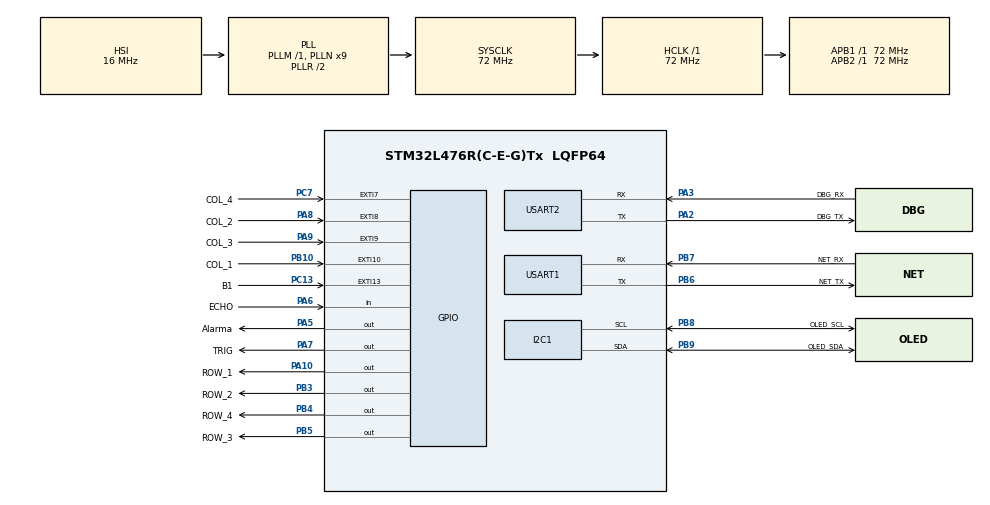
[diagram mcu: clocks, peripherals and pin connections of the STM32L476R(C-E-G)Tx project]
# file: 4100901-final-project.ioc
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I2C1.Timing=0x10808DD3
Mcu.Family=STM32L4
Mcu.Name=STM32L476R(C-E-G)Tx
Mcu.Package=LQFP64
NVIC.EXTI15_10_IRQn=true\:0\:0\:false\:false\:true\:true\:true\:true
NVIC.EXTI9_5_IRQn=true\:0\:0\:false\:false\:true\:true\:true\:true
NVIC.PriorityGroup=NVIC_PRIORITYGROUP_4
NVIC.RTC_Alarm_IRQn=true\:0\:0\:false\:false\:true\:true\:true\:true
NVIC.USART1_IRQn=true\:0\:0\:false\:false\:true\:true\:true\:true
NVIC.USART2_IRQn=true\:0\:0\:false\:false\:true\:true\:true\:true
PA10.GPIO_Label=ROW_1
PA10.Signal=GPIO_Output
PA13\ (JTMS-SWDIO).GPIO_Label=TMS
PA13\ (JTMS-SWDIO).Mode=Serial_Wire
PA13\ (JTMS-SWDIO).Signal=SYS_JTMS-SWDIO
PA14\ (JTCK-SWCLK).GPIO_Label=TCK
PA14\ (JTCK-SWCLK).Mode=Serial_Wire
PA14\ (JTCK-SWCLK).Signal=SYS_JTCK-SWCLK
PA2.GPIO_Label=DBG_TX
PA2.GPIO_Mode=GPIO_MODE_AF_PP
PA2.GPIO_PuPd=GPIO_NOPULL
PA2.GPIO_Speed=GPIO_SPEED_FREQ_VERY_HIGH
PA2.Mode=Asynchronous
PA2.Signal=USART2_TX
PA3.GPIO_Label=DBG_RX
PA3.GPIO_Mode=GPIO_MODE_AF_PP
PA3.GPIO_PuPd=GPIO_NOPULL
PA3.GPIO_Speed=GPIO_SPEED_FREQ_VERY_HIGH
PA3.Mode=Asynchronous
PA3.Signal=USART2_RX
PA5.GPIO_Label=Alarma
PA5.Signal=GPIO_Output
PA6.GPIO_Label=ECHO
PA6.Signal=GPIO_Input
PA7.GPIO_Label=TRIG
PA7.Signal=GPIO_Output
PA8.GPIO_Label=COL_2
PA8.GPIO_PuPd=GPIO_PULLDOWN
PA8.Signal=GPXTI8
PA9.GPIO_Label=COL_3
PA9.GPIO_PuPd=GPIO_PULLDOWN
PA9.Signal=GPXTI9
PB10.GPIO_Label=COL_1
PB10.GPIO_PuPd=GPIO_PULLDOWN
PB10.Signal=GPXTI10
PB3\ (JTDO-TRACESWO).GPIO_Label=ROW_2
PB3\ (JTDO-TRACESWO).Signal=GPIO_Output
PB4\ (NJTRST).GPIO_Label=ROW_4
PB4\ (NJTRST).Signal=GPIO_Output
PB5.GPIO_Label=ROW_3
PB5.Signal=GPIO_Output
PB6.GPIO_Label=NET_TX
PB6.Mode=Asynchronous
PB6.Signal=USART1_TX
PB7.GPIO_Label=NET_RX
PB7.Mode=Asynchronous
PB7.Signal=USART1_RX
PB8.GPIO_Label=OLED_SCL
PB8.Mode=I2C
PB8.Signal=I2C1_SCL
PB9.GPIO_Label=OLED_SDA
PB9.Mode=I2C
PB9.Signal=I2C1_SDA
PC13.GPIO_Label=B1
PC13.GPIO_ModeDefaultEXTI=GPIO_MODE_IT_FALLING
PC13.GPIO_PuPd=GPIO_NOPULL
PC13.Signal=GPXTI13
PC14-OSC32_IN\ (PC14).GPIO_Label=LSE_IN
PC14-OSC32_IN\ (PC14).Signal=RCC_OSC32_IN
PC15-OSC32_OUT\ (PC15).GPIO_Label=LSE_OUT
PC15-OSC32_OUT\ (PC15).Signal=RCC_OSC32_OUT
PC7.GPIO_Label=COL_4
PC7.GPIO_PuPd=GPIO_PULLDOWN
PC7.Signal=GPXTI7
PH0-OSC_IN\ (PH0).Mode=HSE-External-Oscillator
PH0-OSC_IN\ (PH0).Signal=RCC_OSC_IN
PH1-OSC_OUT\ (PH1).Mode=HSE-External-Oscillator
PH1-OSC_OUT\ (PH1).Signal=RCC_OSC_OUT
ProjectManager.HeapSize=0x200
ProjectManager.StackSize=0x400
ProjectManager.TargetToolchain=STM32CubeIDE
RCC.ADCFreq_Value=64000000
RCC.AHBFreq_Value=72000000
RCC.APB1Freq_Value=72000000
RCC.APB1TimFreq_Value=72000000
RCC.APB2Freq_Value=72000000
RCC.APB2TimFreq_Value=72000000
RCC.CortexFreq_Value=72000000
RCC.HCLKFreq_Value=72000000
RCC.HSE_VALUE=8000000
RCC.HSI_VALUE=16000000
RCC.LSE_VALUE=32768
RCC.MSI_VALUE=4000000
RCC.PLLN=9
RCC.PLLSourceVirtual=RCC_PLLSOURCE_HSI
RCC.PREFETCH_ENABLE=1
RCC.SYSCLKFreq_VALUE=72000000
RCC.SYSCLKSource=RCC_SYSCLKSOURCE_PLLCLK
RCC.USBFreq_Value=64000000
RCC.VCOOutputFreq_Value=144000000
RTC.Alarm-Alarm\ A=RTC_ALARM_A
RTC.Seconds_A-Alarm\ A=0
TIM1.Prescaler=72-1
USART1.VirtualMode-Asynchronous=VM_ASYNC
USART2.VirtualMode-Asynchronous=VM_ASYNC
VP_RTC_VS_RTC_Activate.Mode=RTC_Enabled
VP_RTC_VS_RTC_Alarm_A_Intern.Mode=Alarm A
VP_RTC_VS_RTC_Calendar.Mode=RTC_Calendar
VP_TIM1_VS_ClockSourceINT.Mode=Internal
board=NUCLEO-L476RG

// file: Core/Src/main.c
/* USER CODE BEGIN Header */
/**
  ******************************************************************************
  * @file           : main.c
  * @brief          : Main program body
  ******************************************************************************
  * @attention
  *
  * Copyright (c) 2023 STMicroelectronics.
  * All rights reserved.
  *
  * This software is licensed under terms that can be found in the LICENSE file
  * in the root directory of this software component.
  * If no LICENSE file comes with this software, it is provided AS-IS.
  *
  ******************************************************************************
  */
/* USER CODE END Header */
#include "main.h"

/* USER CODE BEGIN Includes */
#include <stdio.h>

#include "lock.h"
#include "keypad.h"
#include "Sensor_Ultrasonico.h"
#include "telnet_command.h"
/* USER CODE END Includes */

I2C_HandleTypeDef hi2c1;

RTC_HandleTypeDef hrtc;

TIM_HandleTypeDef htim1;

/* USER CODE BEGIN PV */
volatile uint16_t keypad_event = KEYPAD_EVENT_NONE;
uint16_t Distancee;
#define TRIG_PIN TRIG_Pin
#define ECHO_PIN ECHO_Pin
uint8_t ctrl;
uint8_t b =0;
uint8_t a;
/* USER CODE END PV */

void SystemClock_Config(void);
static void MX_GPIO_Init(void);
static void MX_USART2_UART_Init(void);
static void MX_I2C1_Init(void);
static void MX_USART1_UART_Init(void);
static void MX_RTC_Init(void);
static void MX_TIM1_Init(void);

/* USER CODE BEGIN 0 */
int _write(int file, char *ptr, int len)
{
  // send each byte in blocking mode
  for (uint8_t idx = 0; idx < len; idx++) {
	  while (LL_USART_IsActiveFlag_TXE(USART2) == 0) {
		  // wait until Tx Empty flag becomes true
		  // TODO: add timeout
	  }
	  LL_USART_TransmitData8(USART2, ptr[idx]);
  }
  return len;
}

void HAL_GPIO_EXTI_Callback(uint16_t GPIO_Pin)
{
	keypad_event =GPIO_Pin;//save the column activate

}
/* USER CODE END 0 */

int main(void)
{

  /* MCU Configuration--------------------------------------------------------*/

  /* Reset of all peripherals, Initializes the Flash interface and the Systick. */
  HAL_Init();

  /* Configure the system clock */
  SystemClock_Config();

  /* Initialize all configured peripherals */
  MX_GPIO_Init();
  MX_USART2_UART_Init();
  MX_I2C1_Init();
  MX_USART1_UART_Init();
  MX_RTC_Init();
  MX_TIM1_Init();
  /* USER CODE BEGIN 2 */
  lock_init();
  keypad_init();
  Sensor_Ultrasonico_Init();
  HAL_TIM_Base_Start(&htim1);
  HAL_GPIO_WritePin(GPIOA, TRIG_Pin, GPIO_PIN_RESET);  // pull the TRIG pin low

  /* USER CODE END 2 */

  /* Infinite loop */
  /* USER CODE BEGIN WHILE */
  const char *txBuffer= "Intruso";
  printf("Started\r\n");
  while (1)
  {
	  Distancee = Sensor_Ultrasonico_GetDistance(&htim1);
	  uint8_t key_pressed = keypad_run(&keypad_event);
	  if (key_pressed != KEY_PRESSED_NONE) {

			  lock_sequence_handler(key_pressed);
	  }
	  if (ctrl==1){
		  Distancee = Sensor_Ultrasonico_GetDistance(&htim1);
		  b=1;
		  if(Distancee<=30){

			  b=2;
			  HAL_Delay(1000);

			  telnet_transmit(USART1,txBuffer);
			  HAL_Delay(1000);
			  HAL_GPIO_WritePin(GPIOA, Alarma_Pin, SET);
		  }
		  uint8_t keyt = telnet_receive(USART1);
		  if (keyt!= a){
			  a=keyt;
			  lock_sequence_handler(keyt);
		  }

	  }
	  else{
		  Distancee = Sensor_Ultrasonico_GetDistance(&htim1);
		  HAL_GPIO_WritePin(GPIOA, Alarma_Pin, RESET);
	  }
    /* USER CODE END WHILE */

}
}

void SystemClock_Config(void)
{
  RCC_OscInitTypeDef RCC_OscInitStruct = {0};
  RCC_ClkInitTypeDef RCC_ClkInitStruct = {0};

  /** Configure the main internal regulator output voltage
  */
  if (HAL_PWREx_ControlVoltageScaling(PWR_REGULATOR_VOLTAGE_SCALE1) != HAL_OK)
  {
    Error_Handler();
  }

  /** Initializes the RCC Oscillators according to the specified parameters
  * in the RCC_OscInitTypeDef structure.
  */
  RCC_OscInitStruct.OscillatorType = RCC_OSCILLATORTYPE_HSI|RCC_OSCILLATORTYPE_LSI;
  RCC_OscInitStruct.HSIState = RCC_HSI_ON;
  RCC_OscInitStruct.HSICalibrationValue = RCC_HSICALIBRATION_DEFAULT;
  RCC_OscInitStruct.LSIState = RCC_LSI_ON;
  RCC_OscInitStruct.PLL.PLLState = RCC_PLL_ON;
  RCC_OscInitStruct.PLL.PLLSource = RCC_PLLSOURCE_HSI;
  RCC_OscInitStruct.PLL.PLLM = 1;
  RCC_OscInitStruct.PLL.PLLN = 9;
  RCC_OscInitStruct.PLL.PLLP = RCC_PLLP_DIV7;
  RCC_OscInitStruct.PLL.PLLQ = RCC_PLLQ_DIV2;
  RCC_OscInitStruct.PLL.PLLR = RCC_PLLR_DIV2;
  if (HAL_RCC_OscConfig(&RCC_OscInitStruct) != HAL_OK)
  {
    Error_Handler();
  }

  /** Initializes the CPU, AHB and APB buses clocks
  */
  RCC_ClkInitStruct.ClockType = RCC_CLOCKTYPE_HCLK|RCC_CLOCKTYPE_SYSCLK
                              |RCC_CLOCKTYPE_PCLK1|RCC_CLOCKTYPE_PCLK2;
  RCC_ClkInitStruct.SYSCLKSource = RCC_SYSCLKSOURCE_PLLCLK;
  RCC_ClkInitStruct.AHBCLKDivider = RCC_SYSCLK_DIV1;
  RCC_ClkInitStruct.APB1CLKDivider = RCC_HCLK_DIV1;
  RCC_ClkInitStruct.APB2CLKDivider = RCC_HCLK_DIV1;

  if (HAL_RCC_ClockConfig(&RCC_ClkInitStruct, FLASH_LATENCY_4) != HAL_OK)
  {
    Error_Handler();
  }
}

static void MX_I2C1_Init(void)
{

  hi2c1.Instance = I2C1;
  hi2c1.Init.Timing = 0x10808DD3;
  hi2c1.Init.OwnAddress1 = 0;
  hi2c1.Init.AddressingMode = I2C_ADDRESSINGMODE_7BIT;
  hi2c1.Init.DualAddressMode = I2C_DUALADDRESS_DISABLE;
  hi2c1.Init.OwnAddress2 = 0;
  hi2c1.Init.OwnAddress2Masks = I2C_OA2_NOMASK;
  hi2c1.Init.GeneralCallMode = I2C_GENERALCALL_DISABLE;
  hi2c1.Init.NoStretchMode = I2C_NOSTRETCH_DISABLE;
  if (HAL_I2C_Init(&hi2c1) != HAL_OK)
  {
    Error_Handler();
  }

  /** Configure Analogue filter
  */
  if (HAL_I2CEx_ConfigAnalogFilter(&hi2c1, I2C_ANALOGFILTER_ENABLE) != HAL_OK)
  {
    Error_Handler();
  }

  /** Configure Digital filter
  */
  if (HAL_I2CEx_ConfigDigitalFilter(&hi2c1, 0) != HAL_OK)
  {
    Error_Handler();
  }

}

static void MX_RTC_Init(void)
{

  RTC_TimeTypeDef sTime = {0};
  RTC_DateTypeDef sDate = {0};
  RTC_AlarmTypeDef sAlarm = {0};

  /** Initialize RTC Only
  */
  hrtc.Instance = RTC;
  hrtc.Init.HourFormat = RTC_HOURFORMAT_24;
  hrtc.Init.AsynchPrediv = 127;
  hrtc.Init.SynchPrediv = 255;
  hrtc.Init.OutPut = RTC_OUTPUT_DISABLE;
  hrtc.Init.OutPutRemap = RTC_OUTPUT_REMAP_NONE;
  hrtc.Init.OutPutPolarity = RTC_OUTPUT_POLARITY_HIGH;
  hrtc.Init.OutPutType = RTC_OUTPUT_TYPE_OPENDRAIN;
  if (HAL_RTC_Init(&hrtc) != HAL_OK)
  {
    Error_Handler();
  }

  /** Initialize RTC and set the Time and Date
  */
  sTime.Hours = 0x0;
  sTime.Minutes = 0x0;
  sTime.Seconds = 0x0;
  sTime.DayLightSaving = RTC_DAYLIGHTSAVING_NONE;
  sTime.StoreOperation = RTC_STOREOPERATION_RESET;
  if (HAL_RTC_SetTime(&hrtc, &sTime, RTC_FORMAT_BCD) != HAL_OK)
  {
    Error_Handler();
  }
  sDate.WeekDay = RTC_WEEKDAY_MONDAY;
  sDate.Month = RTC_MONTH_JANUARY;
  sDate.Date = 0x1;
  sDate.Year = 0x0;

  if (HAL_RTC_SetDate(&hrtc, &sDate, RTC_FORMAT_BCD) != HAL_OK)
  {
    Error_Handler();
  }

  /** Enable the Alarm A
  */
  sAlarm.AlarmTime.Hours = 0x0;
  sAlarm.AlarmTime.Minutes = 0x0;
  sAlarm.AlarmTime.Seconds = 0x0;
  sAlarm.AlarmTime.SubSeconds = 0x0;
  sAlarm.AlarmTime.DayLightSaving = RTC_DAYLIGHTSAVING_NONE;
  sAlarm.AlarmTime.StoreOperation = RTC_STOREOPERATION_RESET;
  sAlarm.AlarmMask = RTC_ALARMMASK_NONE;
  sAlarm.AlarmSubSecondMask = RTC_ALARMSUBSECONDMASK_ALL;
  sAlarm.AlarmDateWeekDaySel = RTC_ALARMDATEWEEKDAYSEL_DATE;
  sAlarm.AlarmDateWeekDay = 0x1;
  sAlarm.Alarm = RTC_ALARM_A;
  if (HAL_RTC_SetAlarm_IT(&hrtc, &sAlarm, RTC_FORMAT_BCD) != HAL_OK)
  {
    Error_Handler();
  }

}

static void MX_TIM1_Init(void)
{

  TIM_ClockConfigTypeDef sClockSourceConfig = {0};
  TIM_MasterConfigTypeDef sMasterConfig = {0};

  htim1.Instance = TIM1;
  htim1.Init.Prescaler = 72-1;
  htim1.Init.CounterMode = TIM_COUNTERMODE_UP;
  htim1.Init.Period = 65535;
  htim1.Init.ClockDivision = TIM_CLOCKDIVISION_DIV1;
  htim1.Init.RepetitionCounter = 0;
  htim1.Init.AutoReloadPreload = TIM_AUTORELOAD_PRELOAD_DISABLE;
  if (HAL_TIM_Base_Init(&htim1) != HAL_OK)
  {
    Error_Handler();
  }
  sClockSourceConfig.ClockSource = TIM_CLOCKSOURCE_INTERNAL;
  if (HAL_TIM_ConfigClockSource(&htim1, &sClockSourceConfig) != HAL_OK)
  {
    Error_Handler();
  }
  sMasterConfig.MasterOutputTrigger = TIM_TRGO_RESET;
  sMasterConfig.MasterOutputTrigger2 = TIM_TRGO2_RESET;
  sMasterConfig.MasterSlaveMode = TIM_MASTERSLAVEMODE_DISABLE;
  if (HAL_TIMEx_MasterConfigSynchronization(&htim1, &sMasterConfig) != HAL_OK)
  {
    Error_Handler();
  }

}

static void MX_USART1_UART_Init(void)
{

  LL_USART_InitTypeDef USART_InitStruct = {0};

  LL_GPIO_InitTypeDef GPIO_InitStruct = {0};
  RCC_PeriphCLKInitTypeDef PeriphClkInit = {0};

  /** Initializes the peripherals clock
  */
  PeriphClkInit.PeriphClockSelection = RCC_PERIPHCLK_USART1;
  PeriphClkInit.Usart1ClockSelection = RCC_USART1CLKSOURCE_PCLK2;
  if (HAL_RCCEx_PeriphCLKConfig(&PeriphClkInit) != HAL_OK)
  {
    Error_Handler();
  }

  /* Peripheral clock enable */
  LL_APB2_GRP1_EnableClock(LL_APB2_GRP1_PERIPH_USART1);

  LL_AHB2_GRP1_EnableClock(LL_AHB2_GRP1_PERIPH_GPIOB);
  /**USART1 GPIO Configuration
  PB6   ------> USART1_TX
  PB7   ------> USART1_RX
  */
  GPIO_InitStruct.Pin = LL_GPIO_PIN_6|LL_GPIO_PIN_7;
  GPIO_InitStruct.Mode = LL_GPIO_MODE_ALTERNATE;
  GPIO_InitStruct.Speed = LL_GPIO_SPEED_FREQ_VERY_HIGH;
  GPIO_InitStruct.OutputType = LL_GPIO_OUTPUT_PUSHPULL;
  GPIO_InitStruct.Pull = LL_GPIO_PULL_NO;
  GPIO_InitStruct.Alternate = LL_GPIO_AF_7;
  LL_GPIO_Init(GPIOB, &GPIO_InitStruct);

  /* USART1 interrupt Init */
  NVIC_SetPriority(USART1_IRQn, NVIC_EncodePriority(NVIC_GetPriorityGrouping(),0, 0));
  NVIC_EnableIRQ(USART1_IRQn);

  USART_InitStruct.BaudRate = 115200;
  USART_InitStruct.DataWidth = LL_USART_DATAWIDTH_8B;
  USART_InitStruct.StopBits = LL_USART_STOPBITS_1;
  USART_InitStruct.Parity = LL_USART_PARITY_NONE;
  USART_InitStruct.TransferDirection = LL_USART_DIRECTION_TX_RX;
  USART_InitStruct.HardwareFlowControl = LL_USART_HWCONTROL_NONE;
  USART_InitStruct.OverSampling = LL_USART_OVERSAMPLING_16;
  LL_USART_Init(USART1, &USART_InitStruct);
  LL_USART_ConfigAsyncMode(USART1);
  LL_USART_Enable(USART1);

}

static void MX_USART2_UART_Init(void)
{

  LL_USART_InitTypeDef USART_InitStruct = {0};

  LL_GPIO_InitTypeDef GPIO_InitStruct = {0};
  RCC_PeriphCLKInitTypeDef PeriphClkInit = {0};

  /** Initializes the peripherals clock
  */
  PeriphClkInit.PeriphClockSelection = RCC_PERIPHCLK_USART2;
  PeriphClkInit.Usart2ClockSelection = RCC_USART2CLKSOURCE_PCLK1;
  if (HAL_RCCEx_PeriphCLKConfig(&PeriphClkInit) != HAL_OK)
  {
    Error_Handler();
  }

  /* Peripheral clock enable */
  LL_APB1_GRP1_EnableClock(LL_APB1_GRP1_PERIPH_USART2);

  LL_AHB2_GRP1_EnableClock(LL_AHB2_GRP1_PERIPH_GPIOA);
  /**USART2 GPIO Configuration
  PA2   ------> USART2_TX
  PA3   ------> USART2_RX
  */
  GPIO_InitStruct.Pin = LL_GPIO_PIN_2|LL_GPIO_PIN_3;
  GPIO_InitStruct.Mode = LL_GPIO_MODE_ALTERNATE;
  GPIO_InitStruct.Speed = LL_GPIO_SPEED_FREQ_VERY_HIGH;
  GPIO_InitStruct.OutputType = LL_GPIO_OUTPUT_PUSHPULL;
  GPIO_InitStruct.Pull = LL_GPIO_PULL_NO;
  GPIO_InitStruct.Alternate = LL_GPIO_AF_7;
  LL_GPIO_Init(GPIOA, &GPIO_InitStruct);

  /* USART2 interrupt Init */
  NVIC_SetPriority(USART2_IRQn, NVIC_EncodePriority(NVIC_GetPriorityGrouping(),0, 0));
  NVIC_EnableIRQ(USART2_IRQn);

  USART_InitStruct.BaudRate = 115200;
  USART_InitStruct.DataWidth = LL_USART_DATAWIDTH_8B;
  USART_InitStruct.StopBits = LL_USART_STOPBITS_1;
  USART_InitStruct.Parity = LL_USART_PARITY_NONE;
  USART_InitStruct.TransferDirection = LL_USART_DIRECTION_TX_RX;
  USART_InitStruct.HardwareFlowControl = LL_USART_HWCONTROL_NONE;
  USART_InitStruct.OverSampling = LL_USART_OVERSAMPLING_16;
  LL_USART_Init(USART2, &USART_InitStruct);
  LL_USART_ConfigAsyncMode(USART2);
  LL_USART_Enable(USART2);

}

static void MX_GPIO_Init(void)
{
  GPIO_InitTypeDef GPIO_InitStruct = {0};

  /* GPIO Ports Clock Enable */
  __HAL_RCC_GPIOC_CLK_ENABLE();
  __HAL_RCC_GPIOH_CLK_ENABLE();
  __HAL_RCC_GPIOA_CLK_ENABLE();
  __HAL_RCC_GPIOB_CLK_ENABLE();

  /*Configure GPIO pin Output Level */
  HAL_GPIO_WritePin(GPIOA, Alarma_Pin|TRIG_Pin|ROW_1_Pin, GPIO_PIN_RESET);

  /*Configure GPIO pin Output Level */
  HAL_GPIO_WritePin(GPIOB, ROW_2_Pin|ROW_4_Pin|ROW_3_Pin, GPIO_PIN_RESET);

  /*Configure GPIO pin : B1_Pin */
  GPIO_InitStruct.Pin = B1_Pin;
  GPIO_InitStruct.Mode = GPIO_MODE_IT_FALLING;
  GPIO_InitStruct.Pull = GPIO_NOPULL;
  HAL_GPIO_Init(B1_GPIO_Port, &GPIO_InitStruct);

  /*Configure GPIO pins : Alarma_Pin TRIG_Pin ROW_1_Pin */
  GPIO_InitStruct.Pin = Alarma_Pin|TRIG_Pin|ROW_1_Pin;
  GPIO_InitStruct.Mode = GPIO_MODE_OUTPUT_PP;
  GPIO_InitStruct.Pull = GPIO_NOPULL;
  GPIO_InitStruct.Speed = GPIO_SPEED_FREQ_LOW;
  HAL_GPIO_Init(GPIOA, &GPIO_InitStruct);

  /*Configure GPIO pin : ECHO_Pin */
  GPIO_InitStruct.Pin = ECHO_Pin;
  GPIO_InitStruct.Mode = GPIO_MODE_INPUT;
  GPIO_InitStruct.Pull = GPIO_NOPULL;
  HAL_GPIO_Init(ECHO_GPIO_Port, &GPIO_InitStruct);

  /*Configure GPIO pin : COL_1_Pin */
  GPIO_InitStruct.Pin = COL_1_Pin;
  GPIO_InitStruct.Mode = GPIO_MODE_IT_RISING;
  GPIO_InitStruct.Pull = GPIO_PULLDOWN;
  HAL_GPIO_Init(COL_1_GPIO_Port, &GPIO_InitStruct);

  /*Configure GPIO pin : COL_4_Pin */
  GPIO_InitStruct.Pin = COL_4_Pin;
  GPIO_InitStruct.Mode = GPIO_MODE_IT_RISING;
  GPIO_InitStruct.Pull = GPIO_PULLDOWN;
  HAL_GPIO_Init(COL_4_GPIO_Port, &GPIO_InitStruct);

  /*Configure GPIO pins : COL_2_Pin COL_3_Pin */
  GPIO_InitStruct.Pin = COL_2_Pin|COL_3_Pin;
  GPIO_InitStruct.Mode = GPIO_MODE_IT_RISING;
  GPIO_InitStruct.Pull = GPIO_PULLDOWN;
  HAL_GPIO_Init(GPIOA, &GPIO_InitStruct);

  /*Configure GPIO pins : ROW_2_Pin ROW_4_Pin ROW_3_Pin */
  GPIO_InitStruct.Pin = ROW_2_Pin|ROW_4_Pin|ROW_3_Pin;
  GPIO_InitStruct.Mode = GPIO_MODE_OUTPUT_PP;
  GPIO_InitStruct.Pull = GPIO_NOPULL;
  GPIO_InitStruct.Speed = GPIO_SPEED_FREQ_LOW;
  HAL_GPIO_Init(GPIOB, &GPIO_InitStruct);

  /* EXTI interrupt init*/
  HAL_NVIC_SetPriority(EXTI9_5_IRQn, 0, 0);
  HAL_NVIC_EnableIRQ(EXTI9_5_IRQn);

  HAL_NVIC_SetPriority(EXTI15_10_IRQn, 0, 0);
  HAL_NVIC_EnableIRQ(EXTI15_10_IRQn);

}

void Error_Handler(void)
{
  __disable_irq();
  while (1)
  {
  }
}
